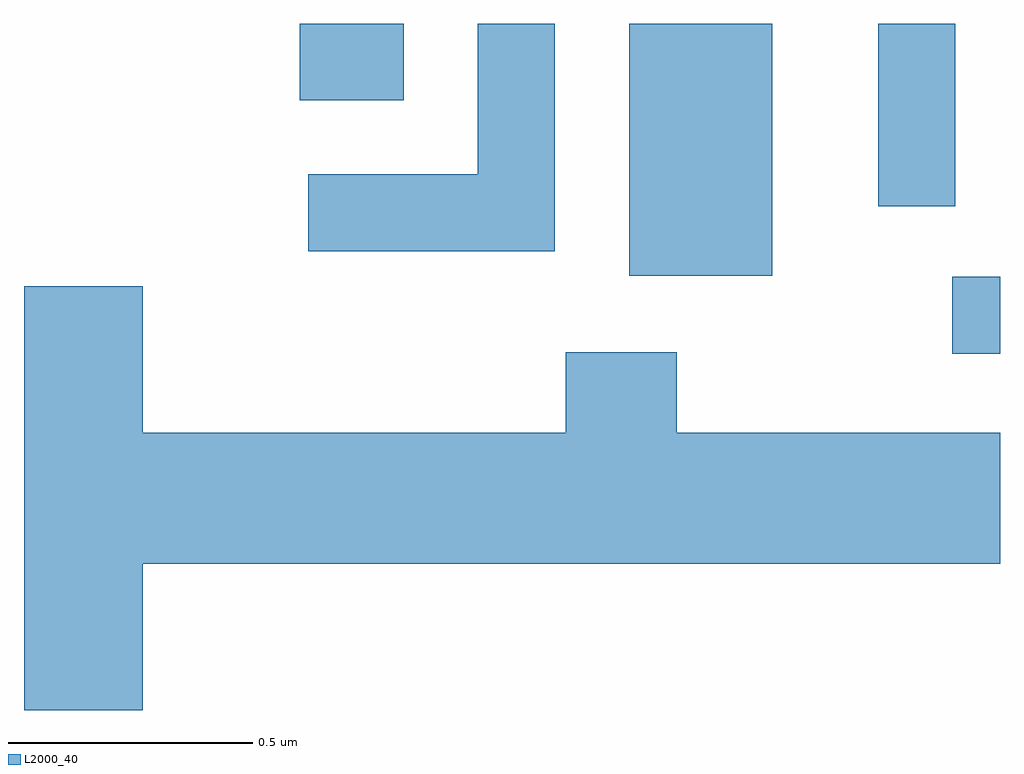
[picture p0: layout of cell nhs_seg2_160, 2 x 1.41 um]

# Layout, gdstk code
import gdstk
lib = gdstk.Library(unit=1e-6, precision=1e-09)
def R(c, l, rs):  # rectangles x0, y0, x1, y1
    for r in rs: c.add(gdstk.rectangle(r[:2], r[2:], *l))
def P(c, l, *ps):  # polygons
    for p in ps: c.add(gdstk.Polygon(p, *l))
L2000_40 = (2000, 40)

nhs_seg2_160 = lib.new_cell('nhs_seg2_160')
R(nhs_seg2_160, L2000_40, [(188.513,1002.126,188.611,1002.284), (187.851,1002.286,188.144,1002.802), (188.361,1002.428,188.519,1002.802), (187.176,1002.646,187.389,1002.802)])
P(nhs_seg2_160, L2000_40, [(187.699,1002.802),(187.541,1002.802),(187.541,1002.494),(187.193,1002.494),(187.193,1002.336),(187.699,1002.336)],
  [(186.854,1001.696),(188.611,1001.696),(188.611,1001.964),(187.949,1001.964),(187.949,1002.129),(187.721,1002.129),(187.721,1001.964),(186.854,1001.964),(186.854,1002.264),(186.611,1002.264),(186.611,1001.396),(186.854,1001.396)])

lib.write_gds('nhs_seg2_160.gds')
